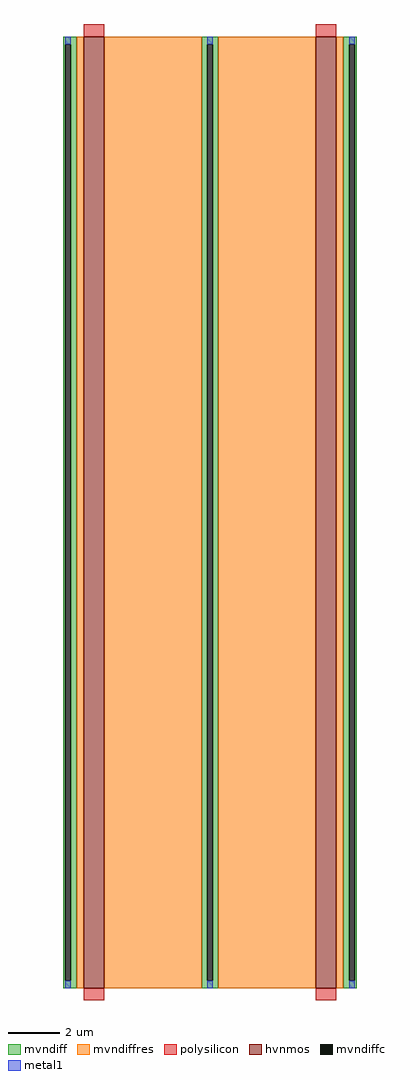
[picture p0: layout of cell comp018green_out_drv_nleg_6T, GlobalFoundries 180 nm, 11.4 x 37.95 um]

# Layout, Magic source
magic
tech gf180mcuD
magscale 1 10
<< hvnmos >>
rect 206 132 366 7532
rect 2010 132 2170 7532
<< mvndiff >>
rect 48 7474 150 7532
rect 48 190 61 7474
rect 107 190 150 7474
rect 48 132 150 190
rect 1122 7474 1254 7532
rect 1122 190 1165 7474
rect 1211 190 1254 7474
rect 1122 132 1254 190
rect 2226 7474 2328 7532
rect 2226 190 2269 7474
rect 2315 190 2328 7474
rect 2226 132 2328 190
<< mvndiffc >>
rect 61 190 107 7474
rect 1165 190 1211 7474
rect 2269 190 2315 7474
<< polysilicon >>
rect 206 7532 366 7632
rect 2010 7532 2170 7632
rect 206 42 366 132
rect 2010 42 2170 132
<< mvndiffres >>
rect 150 132 206 7532
rect 366 132 1122 7532
rect 1254 132 2010 7532
rect 2170 132 2226 7532
<< metal1 >>
rect 61 7474 107 7532
rect 61 132 107 190
rect 1165 7474 1211 7532
rect 1165 132 1211 190
rect 2269 7474 2315 7532
rect 2269 132 2315 190
<< properties >>
string GDS_END 10823198
string GDS_FILE $PDKPATH/libs.ref/gf180mcu_ocd_io/gds/gf180mcu_ocd_io.gds
string GDS_START 10807130
<< end >>
